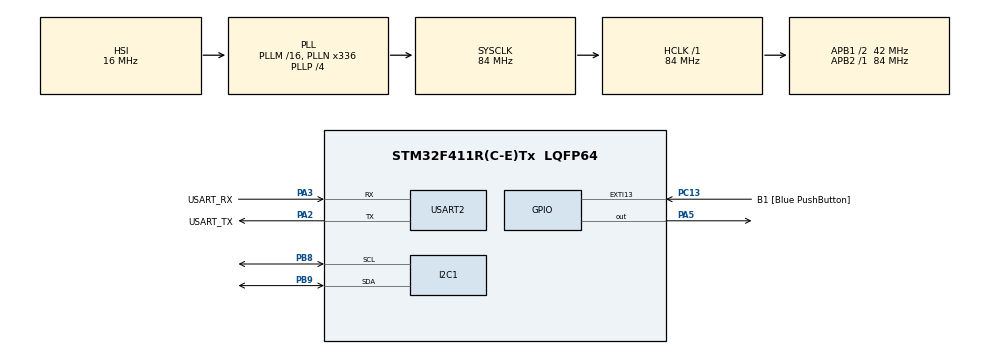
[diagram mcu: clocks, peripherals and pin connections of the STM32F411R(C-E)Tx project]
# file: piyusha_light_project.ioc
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Mcu.Family=STM32F4
Mcu.Name=STM32F411R(C-E)Tx
Mcu.Package=LQFP64
NVIC.I2C1_ER_IRQn=true\:0\:0\:false\:false\:true\:true\:true\:true
NVIC.I2C1_EV_IRQn=true\:0\:0\:false\:false\:true\:true\:true\:true
NVIC.PriorityGroup=NVIC_PRIORITYGROUP_0
NVIC.TIM5_IRQn=true\:0\:0\:false\:false\:true\:true\:true\:true
NVIC.USART2_IRQn=true\:0\:0\:false\:false\:true\:true\:true\:true
PA13.GPIO_Label=TMS
PA13.Mode=Serial_Wire
PA13.Signal=SYS_JTMS-SWDIO
PA14.GPIO_Label=TCK
PA14.Mode=Serial_Wire
PA14.Signal=SYS_JTCK-SWCLK
PA2.GPIO_Label=USART_TX
PA2.Mode=Asynchronous
PA2.Signal=USART2_TX
PA3.GPIO_Label=USART_RX
PA3.Mode=Asynchronous
PA3.Signal=USART2_RX
PA5.Signal=GPIO_Output
PB3.GPIO_Label=SWO
PB3.Signal=SYS_JTDO-SWO
PB8.Mode=I2C
PB8.Signal=I2C1_SCL
PB9.Mode=I2C
PB9.Signal=I2C1_SDA
PC13-ANTI_TAMP.GPIO_Label=B1 [Blue PushButton]
PC13-ANTI_TAMP.GPIO_ModeDefaultEXTI=GPIO_MODE_IT_FALLING
PC13-ANTI_TAMP.Signal=GPXTI13
PC14-OSC32_IN.Mode=LSE-External-Oscillator
PC14-OSC32_IN.Signal=RCC_OSC32_IN
PC15-OSC32_OUT.Mode=LSE-External-Oscillator
PC15-OSC32_OUT.Signal=RCC_OSC32_OUT
PH0\ -\ OSC_IN.Mode=HSE-External-Clock-Source
PH0\ -\ OSC_IN.Signal=RCC_OSC_IN
PH1\ -\ OSC_OUT.Mode=HSE-External-Clock-Source
PH1\ -\ OSC_OUT.Signal=RCC_OSC_OUT
ProjectManager.HeapSize=0x200
ProjectManager.StackSize=0x400
ProjectManager.TargetToolchain=STM32CubeIDE
RCC.48MHZClocksFreq_Value=84000000
RCC.AHBFreq_Value=84000000
RCC.APB1CLKDivider=RCC_HCLK_DIV2
RCC.APB1Freq_Value=42000000
RCC.APB1TimFreq_Value=84000000
RCC.APB2Freq_Value=84000000
RCC.APB2TimFreq_Value=84000000
RCC.CortexFreq_Value=84000000
RCC.FLatency-AdvancedSettings=FLASH_LATENCY_2
RCC.HCLKFreq_Value=84000000
RCC.HSE_VALUE=8000000
RCC.HSI_VALUE=16000000
RCC.PLLN=336
RCC.PLLP=RCC_PLLP_DIV4
RCC.SYSCLKFreq_VALUE=84000000
RCC.SYSCLKSource=RCC_SYSCLKSOURCE_PLLCLK
RCC.VCOOutputFreq_Value=336000000
TIM5.Prescaler=16000-1
USART2.VirtualMode=VM_ASYNC
VP_TIM5_VS_ClockSourceINT.Mode=Internal
board=NUCLEO-F411RE

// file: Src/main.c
/* USER CODE BEGIN Header */
/**
  ******************************************************************************
  * @file           : main.c
  * @brief          : Main program body
  ******************************************************************************
  * @attention
  *
  * Copyright (c) 2026 STMicroelectronics.
  * All rights reserved.
  *
  * This software is licensed under terms that can be found in the LICENSE file
  * in the root directory of this software component.
  * If no LICENSE file comes with this software, it is provided AS-IS.
  *
  ******************************************************************************
  */
/* USER CODE END Header */
#include "main.h"

/* USER CODE BEGIN Includes */
#include "stm32f4xx_hal.h"
#include <string.h>
#include <stdio.h>
/* USER CODE END Includes */

I2C_HandleTypeDef hi2c1;

TIM_HandleTypeDef htim5;

UART_HandleTypeDef huart2;

/* USER CODE BEGIN PV */
uint16_t lux = 0;
char msg[100];

#define BH1750_ADDR (0x23 << 1)
/* USER CODE END PV */

void SystemClock_Config(void);
static void MX_GPIO_Init(void);
static void MX_I2C1_Init(void);
static void MX_TIM5_Init(void);
static void MX_USART2_UART_Init(void);
/* USER CODE BEGIN PFP */
void BH1750_Read(void);
/* USER CODE END PFP */

/* USER CODE BEGIN 0 */
void BH1750_Read(void)
{
    uint8_t data[2];

    HAL_I2C_Master_Receive(&hi2c1,
                           BH1750_ADDR,
                           data,
                           2,
                           HAL_MAX_DELAY);

    lux = ((data[0] << 8) | data[1]) / 1.2;
}
/* USER CODE END 0 */

int main(void)
{

  /* MCU Configuration--------------------------------------------------------*/

  /* Reset of all peripherals, Initializes the Flash interface and the Systick. */
  HAL_Init();

  /* Configure the system clock */
  SystemClock_Config();

  /* Initialize all configured peripherals */
  MX_GPIO_Init();
  MX_I2C1_Init();
  MX_TIM5_Init();
  MX_USART2_UART_Init();
  /* USER CODE BEGIN 2 */
  /* Start Timer Interrupt */
  HAL_TIM_Base_Start_IT(&htim5);

  /* Start BH1750 Continuous Mode */
  uint8_t cmd = 0x10;

  HAL_I2C_Master_Transmit(&hi2c1,
                          BH1750_ADDR,
                          &cmd,
                          1,
                          HAL_MAX_DELAY);
  /* USER CODE END 2 */

  /* Infinite loop */
  while (1)
  {

  }
}

void SystemClock_Config(void)
{
  RCC_OscInitTypeDef RCC_OscInitStruct = {0};
  RCC_ClkInitTypeDef RCC_ClkInitStruct = {0};

  /** Configure the main internal regulator output voltage
  */
  __HAL_RCC_PWR_CLK_ENABLE();
  __HAL_PWR_VOLTAGESCALING_CONFIG(PWR_REGULATOR_VOLTAGE_SCALE1);

  /** Initializes the RCC Oscillators according to the specified parameters
  * in the RCC_OscInitTypeDef structure.
  */
  RCC_OscInitStruct.OscillatorType = RCC_OSCILLATORTYPE_HSI;
  RCC_OscInitStruct.HSIState = RCC_HSI_ON;
  RCC_OscInitStruct.HSICalibrationValue = RCC_HSICALIBRATION_DEFAULT;
  RCC_OscInitStruct.PLL.PLLState = RCC_PLL_ON;
  RCC_OscInitStruct.PLL.PLLSource = RCC_PLLSOURCE_HSI;
  RCC_OscInitStruct.PLL.PLLM = 16;
  RCC_OscInitStruct.PLL.PLLN = 336;
  RCC_OscInitStruct.PLL.PLLP = RCC_PLLP_DIV4;
  RCC_OscInitStruct.PLL.PLLQ = 4;
  if (HAL_RCC_OscConfig(&RCC_OscInitStruct) != HAL_OK)
  {
    Error_Handler();
  }

  /** Initializes the CPU, AHB and APB buses clocks
  */
  RCC_ClkInitStruct.ClockType = RCC_CLOCKTYPE_HCLK|RCC_CLOCKTYPE_SYSCLK
                              |RCC_CLOCKTYPE_PCLK1|RCC_CLOCKTYPE_PCLK2;
  RCC_ClkInitStruct.SYSCLKSource = RCC_SYSCLKSOURCE_PLLCLK;
  RCC_ClkInitStruct.AHBCLKDivider = RCC_SYSCLK_DIV1;
  RCC_ClkInitStruct.APB1CLKDivider = RCC_HCLK_DIV2;
  RCC_ClkInitStruct.APB2CLKDivider = RCC_HCLK_DIV1;

  if (HAL_RCC_ClockConfig(&RCC_ClkInitStruct, FLASH_LATENCY_2) != HAL_OK)
  {
    Error_Handler();
  }
}

static void MX_I2C1_Init(void)
{

  hi2c1.Instance = I2C1;
  hi2c1.Init.ClockSpeed = 100000;
  hi2c1.Init.DutyCycle = I2C_DUTYCYCLE_2;
  hi2c1.Init.OwnAddress1 = 0;
  hi2c1.Init.AddressingMode = I2C_ADDRESSINGMODE_7BIT;
  hi2c1.Init.DualAddressMode = I2C_DUALADDRESS_DISABLE;
  hi2c1.Init.OwnAddress2 = 0;
  hi2c1.Init.GeneralCallMode = I2C_GENERALCALL_DISABLE;
  hi2c1.Init.NoStretchMode = I2C_NOSTRETCH_DISABLE;
  if (HAL_I2C_Init(&hi2c1) != HAL_OK)
  {
    Error_Handler();
  }

}

static void MX_TIM5_Init(void)
{

  TIM_ClockConfigTypeDef sClockSourceConfig = {0};
  TIM_MasterConfigTypeDef sMasterConfig = {0};

  htim5.Instance = TIM5;
  htim5.Init.Prescaler = 16000-1;
  htim5.Init.CounterMode = TIM_COUNTERMODE_UP;
  htim5.Init.Period = 1000 - 1;
  htim5.Init.ClockDivision = TIM_CLOCKDIVISION_DIV1;
  htim5.Init.AutoReloadPreload = TIM_AUTORELOAD_PRELOAD_DISABLE;
  if (HAL_TIM_Base_Init(&htim5) != HAL_OK)
  {
    Error_Handler();
  }
  sClockSourceConfig.ClockSource = TIM_CLOCKSOURCE_INTERNAL;
  if (HAL_TIM_ConfigClockSource(&htim5, &sClockSourceConfig) != HAL_OK)
  {
    Error_Handler();
  }
  sMasterConfig.MasterOutputTrigger = TIM_TRGO_RESET;
  sMasterConfig.MasterSlaveMode = TIM_MASTERSLAVEMODE_DISABLE;
  if (HAL_TIMEx_MasterConfigSynchronization(&htim5, &sMasterConfig) != HAL_OK)
  {
    Error_Handler();
  }

}

static void MX_USART2_UART_Init(void)
{

  huart2.Instance = USART2;
  huart2.Init.BaudRate = 115200;
  huart2.Init.WordLength = UART_WORDLENGTH_8B;
  huart2.Init.StopBits = UART_STOPBITS_1;
  huart2.Init.Parity = UART_PARITY_NONE;
  huart2.Init.Mode = UART_MODE_TX_RX;
  huart2.Init.HwFlowCtl = UART_HWCONTROL_NONE;
  huart2.Init.OverSampling = UART_OVERSAMPLING_16;
  if (HAL_UART_Init(&huart2) != HAL_OK)
  {
    Error_Handler();
  }

}

static void MX_GPIO_Init(void)
{
  GPIO_InitTypeDef GPIO_InitStruct = {0};

  /* GPIO Ports Clock Enable */
  __HAL_RCC_GPIOC_CLK_ENABLE();
  __HAL_RCC_GPIOH_CLK_ENABLE();
  __HAL_RCC_GPIOA_CLK_ENABLE();
  __HAL_RCC_GPIOB_CLK_ENABLE();

  /*Configure GPIO pin : B1_Pin */
  GPIO_InitStruct.Pin = B1_Pin;
  GPIO_InitStruct.Mode = GPIO_MODE_IT_FALLING;
  GPIO_InitStruct.Pull = GPIO_NOPULL;
  HAL_GPIO_Init(B1_GPIO_Port, &GPIO_InitStruct);

  /*Configure GPIO pin : PA5 */
  GPIO_InitStruct.Pin = GPIO_PIN_5;
  GPIO_InitStruct.Mode = GPIO_MODE_OUTPUT_PP;
  GPIO_InitStruct.Pull = GPIO_NOPULL;
  GPIO_InitStruct.Speed = GPIO_SPEED_FREQ_LOW;
  HAL_GPIO_Init(GPIOA, &GPIO_InitStruct);

}

/* USER CODE BEGIN 4 */
void HAL_TIM_PeriodElapsedCallback(TIM_HandleTypeDef *htim)
{
    if(htim->Instance == TIM5)
    {
        BH1750_Read();

        if(lux > 300)
        {
            HAL_GPIO_WritePin(GPIOA,
                              GPIO_PIN_5,
                              GPIO_PIN_RESET);

            sprintf(msg,
                    "DAY | Lux = %d\r\n",
                    lux);
        }
        else if(lux > 100)
        {
            HAL_GPIO_WritePin(GPIOA,
                              GPIO_PIN_5,
                              GPIO_PIN_SET);

            sprintf(msg,
                    "DUSK | Lux = %d\r\n",
                    lux);
        }
        else
        {
            HAL_GPIO_WritePin(GPIOA,
                              GPIO_PIN_5,
                              GPIO_PIN_SET);

            sprintf(msg,
                    "NIGHT | Lux = %d\r\n",
                    lux);
        }

        HAL_UART_Transmit(&huart2,
                          (uint8_t*)msg,
                          strlen(msg),
                          HAL_MAX_DELAY);
    }
}
/* USER CODE END 4 */

void Error_Handler(void)
{
  __disable_irq();
  while (1)
  {
  }
}
